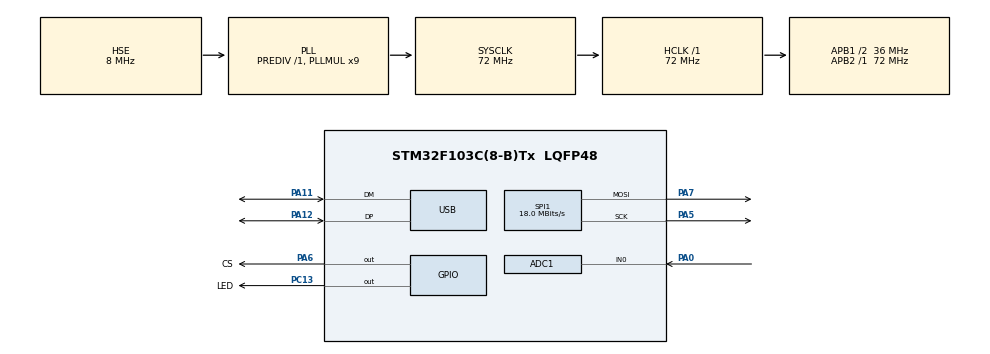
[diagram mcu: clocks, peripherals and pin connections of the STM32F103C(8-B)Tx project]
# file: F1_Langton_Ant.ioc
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ADC1.Channel-0\#ChannelRegularConversion=ADC_CHANNEL_0
ADC1.ContinuousConvMode=DISABLE
ADC1.NbrOfConversionFlag=1
ADC1.Rank-0\#ChannelRegularConversion=1
ADC1.SamplingTime-0\#ChannelRegularConversion=ADC_SAMPLETIME_1CYCLE_5
ADC1.master=1
Dma.Request0=SPI1_TX
Dma.SPI1_TX.0.Direction=DMA_MEMORY_TO_PERIPH
Dma.SPI1_TX.0.Instance=DMA1_Channel3
Dma.SPI1_TX.0.MemDataAlignment=DMA_MDATAALIGN_HALFWORD
Dma.SPI1_TX.0.MemInc=DMA_MINC_DISABLE
Dma.SPI1_TX.0.Mode=DMA_NORMAL
Dma.SPI1_TX.0.PeriphDataAlignment=DMA_PDATAALIGN_HALFWORD
Dma.SPI1_TX.0.PeriphInc=DMA_PINC_DISABLE
Dma.SPI1_TX.0.Priority=DMA_PRIORITY_LOW
Mcu.Family=STM32F1
Mcu.Name=STM32F103C(8-B)Tx
Mcu.Package=LQFP48
NVIC.DMA1_Channel3_IRQn=true\:0\:0\:false\:false\:true\:false\:true
NVIC.PriorityGroup=NVIC_PRIORITYGROUP_4
NVIC.TIM1_BRK_IRQn=true\:0\:0\:false\:false\:true\:true\:true
NVIC.TIM1_CC_IRQn=true\:0\:0\:false\:false\:true\:true\:true
NVIC.TIM1_TRG_COM_IRQn=true\:0\:0\:false\:false\:true\:true\:true
NVIC.TIM1_UP_IRQn=true\:0\:0\:false\:false\:true\:true\:true
NVIC.USB_LP_CAN1_RX0_IRQn=true\:0\:0\:false\:false\:true\:false\:true
PA0-WKUP.Signal=ADCx_IN0
PA11.Mode=Device
PA11.Signal=USB_DM
PA12.Mode=Device
PA12.Signal=USB_DP
PA13.Mode=Serial_Wire
PA13.Signal=SYS_JTMS-SWDIO
PA14.Mode=Serial_Wire
PA14.Signal=SYS_JTCK-SWCLK
PA5.GPIO_Mode=GPIO_MODE_AF_PP
PA5.GPIO_Speed=GPIO_SPEED_FREQ_HIGH
PA5.Mode=TX_Only_Simplex_Unidirect_Master
PA5.Signal=SPI1_SCK
PA6.GPIO_Label=CS
PA6.Signal=GPIO_Output
PA7.GPIO_Mode=GPIO_MODE_AF_PP
PA7.GPIO_Speed=GPIO_SPEED_FREQ_HIGH
PA7.Mode=TX_Only_Simplex_Unidirect_Master
PA7.Signal=SPI1_MOSI
PC13-TAMPER-RTC.GPIO_Label=LED
PC13-TAMPER-RTC.Signal=GPIO_Output
PC14-OSC32_IN.Mode=LSE-External-Oscillator
PC14-OSC32_IN.Signal=RCC_OSC32_IN
PC15-OSC32_OUT.Mode=LSE-External-Oscillator
PC15-OSC32_OUT.Signal=RCC_OSC32_OUT
PD0-OSC_IN.Mode=HSE-External-Oscillator
PD0-OSC_IN.Signal=RCC_OSC_IN
PD1-OSC_OUT.Mode=HSE-External-Oscillator
PD1-OSC_OUT.Signal=RCC_OSC_OUT
ProjectManager.HeapSize=0x200
ProjectManager.StackSize=0x400
ProjectManager.TargetToolchain=SW4STM32
RCC.ADCPresc=RCC_ADCPCLK2_DIV6
RCC.AHBFreq_Value=72000000
RCC.APB1CLKDivider=RCC_HCLK_DIV2
RCC.APB1Freq_Value=36000000
RCC.APB1TimFreq_Value=72000000
RCC.APB2Freq_Value=72000000
RCC.APB2TimFreq_Value=72000000
RCC.HCLKFreq_Value=72000000
RCC.PLLMUL=RCC_PLL_MUL9
RCC.PLLSourceVirtual=RCC_PLLSOURCE_HSE
RCC.SYSCLKFreq_VALUE=72000000
RCC.SYSCLKSource=RCC_SYSCLKSOURCE_PLLCLK
RCC.USBFreq_Value=48000000
RCC.USBPrescaler=RCC_USBCLKSOURCE_PLL_DIV1_5
SH.ADCx_IN0.0=ADC1_IN0,IN0
SPI1.BaudRatePrescaler=SPI_BAUDRATEPRESCALER_4
SPI1.CalculateBaudRate=18.0 MBits/s
SPI1.DataSize=SPI_DATASIZE_8BIT
SPI1.Direction=SPI_DIRECTION_2LINES
SPI1.Mode=SPI_MODE_MASTER
SPI1.VirtualType=VM_MASTER
TIM1.AutoReloadPreload=TIM_AUTORELOAD_PRELOAD_DISABLE
TIM1.ClockDivision=TIM_CLOCKDIVISION_DIV4
TIM1.Period=35999
TIM1.Prescaler=35999
USB_DEVICE.CLASS_NAME_FS=CDC
USB_DEVICE.LANGID_STRING=1036
USB_DEVICE.VirtualMode=Cdc
USB_DEVICE.VirtualModeFS=Cdc_FS
VP_TIM1_VS_ClockSourceINT.Mode=Internal
VP_USB_DEVICE_VS_USB_DEVICE_CDC_FS.Mode=CDC_FS
board=custom

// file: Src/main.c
/* USER CODE BEGIN Header */
/**
 ******************************************************************************
 * @file           : main.c
 * @brief          : Main program body
 ******************************************************************************
 * @attention
 *
 * <h2><center>&copy; Copyright (c) 2019 STMicroelectronics.
 * All rights reserved.</center></h2>
 *
 * This software component is licensed by ST under Ultimate Liberty license
 * SLA0044, the "License"; You may not use this file except in compliance with
 * the License. You may obtain a copy of the License at:
 *                             www.st.com/SLA0044
 *
 ******************************************************************************
 */
/* USER CODE END Header */

#include "main.h"
#include "usb_device.h"

ADC_HandleTypeDef hadc1;

SPI_HandleTypeDef hspi1;
DMA_HandleTypeDef hdma_spi1_tx;

TIM_HandleTypeDef htim1;

/* USER CODE BEGIN PV */
struct St_Ant ant1;
char buff[11];
/* USER CODE END PV */

void SystemClock_Config(void);
static void MX_GPIO_Init(void);
static void MX_DMA_Init(void);
static void MX_SPI1_Init(void);
static void MX_TIM1_Init(void);
static void MX_ADC1_Init(void);

/* USER CODE BEGIN 0 */

void to_bin(uint8_t nb, char* str, uint8_t byte) {
	static uint8_t b;

	b = 0;
	while (b < byte) {
		str[b] = (((nb >> b) & 1) + '0');
		b++;
	}
	str[b] = ' ';
	b++;
	str[b] = ' ';
	b++;
	str[b] = '\n';
}

void HAL_TIM_PeriodElapsedCallback(TIM_HandleTypeDef *htim) {
	if (htim->Instance == TIM1) {
		HAL_GPIO_TogglePin(LED_GPIO_Port, LED_Pin);
		ant1.x = 0;
	}
}

void MAXIM(SPI_HandleTypeDef *hspi, uint8_t addr, uint8_t comm) {
	static uint8_t data[2];
	data[0] = addr;
	data[1] = comm;
	HAL_GPIO_WritePin(CS_GPIO_Port, CS_Pin, 0);
	HAL_SPI_Transmit(hspi, &data[0], 2, HAL_MAX_DELAY);
	HAL_GPIO_WritePin(CS_GPIO_Port, CS_Pin, 1);
}

void MAXIM_Init(SPI_HandleTypeDef *hspi) {
	uint8_t i;
	i = 0;
	MAXIM(hspi, 0xA, 0x0); // LED INTENSITY
	while (i < 8) {
		MAXIM(hspi, 0xA, 0x0);
		MAXIM(hspi, i + 1, 0x0);
		i++;
	}
	MAXIM(hspi, 0xC, 0x1);
	MAXIM(hspi, 0xB, 0x7);
	MAXIM(hspi, 0xA, 0x0); // LED INTENSITY
	MAXIM(hspi, 0xF, 0x1);
	MAXIM(hspi, 0xF, 0x0);
	MAXIM(hspi, 0x9, 0x0);
	i = 0;
}

void Maxim_Map(SPI_HandleTypeDef *hspi, uint8_t *map) {
	static uint8_t i;
	i = 0;
	while (i < 8) {
		MAXIM(hspi, i + 1, map[i]);
		i++;
	}
}

void init_map(struct St_Ant* ant, uint8_t init) {
	ant->y = 0;
	switch (init) {
	case 0:			// Create a blank map
		while ((ant->y) < 8) {
			ant->map[ant->y] = 0;
			ant->y++;
		}
		break;
	case 1:			//Create zebra map
		while ((ant->y) < 8) {
			ant->map[ant->y] = 0b10101010;
			ant->y++;
		}
		break;
	case 5:			// create a randomness map
		while ((ant->y) < 8) {
			HAL_ADC_Start(&hadc1);
			while (HAL_ADC_PollForConversion(&hadc1, HAL_MAX_DELAY)) {
				;
			}
			srand(HAL_ADC_GetValue(&hadc1));
			ant->map[ant->y] = rand() & 0b11111111;
			ant->y++;
		}
		break;
	case 2:			// Le crapeau
		ant->map[0] = 0b00000000;
		ant->map[1] = 0b00000000;
		ant->map[2] = 0b00000000;
		ant->map[3] = 0b01110000;
		ant->map[4] = 0b00111000;
		ant->map[5] = 0b00000000;
		ant->map[6] = 0b00000000;
		ant->map[7] = 0b00000000;
		break;
	case 3:			// Le planneur
		ant->map[4] = 0b01000000;
		ant->map[5] = 0b00100000;
		ant->map[6] = 0b11100000;
		ant->map[7] = 0b00000000;
		ant->map[0] = 0b00000000;
		ant->map[1] = 0b00000000;
		ant->map[2] = 0b00000000;
		ant->map[3] = 0b00000000;
		break;
	case 4:			// 2 Clignotants
		ant->map[0] = 0b01000000;
		ant->map[1] = 0b01000000;
		ant->map[2] = 0b01000000;
		ant->map[3] = 0b00000000;
		ant->map[4] = 0b00000000;
		ant->map[5] = 0b00001110;
		ant->map[6] = 0b00000000;
		ant->map[7] = 0b00000000;
		break;

	case 6:			// La balise
		ant->map[0] = 0b00000000;
		ant->map[1] = 0b00000000;
		ant->map[2] = 0b00000000;
		ant->map[3] = 0b00001100;
		ant->map[4] = 0b00001100;
		ant->map[5] = 0b00110000;
		ant->map[6] = 0b00110000;
		ant->map[7] = 0b00000000;
		break;
	case 7:			// Vaisseau
		ant->map[0] = 0b00000000;
		ant->map[1] = 0b00000000;
		ant->map[2] = 0b00111100;
		ant->map[3] = 0b01000100;
		ant->map[4] = 0b00000100;
		ant->map[5] = 0b01001000;
		ant->map[6] = 0b00000000;
		ant->map[7] = 0b00000000;
		break;
	default:
		break;
	}
	__HAL_TIM_SET_COUNTER(&htim1, 0);
	MAXIM_Init(&hspi1);
}

void Ant(struct St_Ant* ant) {
	if ((ant->map[ant->y] >> (ant->x)) & 1) {
		ant->dir += 1;
		ant->map[ant->y] = ant->map[ant->y] - (1 << ant->x);
	} else {
		ant->dir -= 1;
		ant->map[ant->y] = ant->map[ant->y] + (1 << ant->x);
	}

	ant->dir = ant->dir % 4;

	switch (ant->dir) {
	case 0:
		ant->y += 1;
		break;
	case 1:
		ant->x -= 1;
		break;
	case 2:
		ant->y -= 1;
		break;
	case 3:
		ant->x += 1;
		break;
	default:
		break;
	}
	ant->x = ant->x % 8;
	ant->y = ant->y % 8;
	Maxim_Map(&hspi1, ant->map);
}

int8_t mod(int8_t x) {
	static int ret;
	ret = x % 8;

	return ret;
}

int8_t cell_near(uint8_t *mapi, uint8_t ay, uint8_t ax) {
	static int8_t dy, cx, dx, cy;
	static int8_t nearby;

	nearby = 0;

	dy = 7;
	while (dy <= 9) {
		dx = 7;
		while (dx <= 9) {
			cy = mod(ay + dy);
			cx = mod(ax + dx);
			if (((mapi[cy] >> cx) & 1)) {
				if (dy == 8 && dx == 8) {
					;
				} else {
					nearby++;
				}
			}
			dx++;
		}
		dy++;
	}

	return nearby;
}

void life_game(struct St_Ant* ant) {
	uint8_t tmp_map[8];
	uint8_t x;
	uint8_t nearby;

	ant->y = 0;

	while (ant->y < 8) {
		x = 0;
		tmp_map[ant->y] = ant->map[ant->y];
		while (x < 8) {
			if ((tmp_map[ant->y] >> x) & 1) {
			} else {
			}
			x++;
		}
		ant->y++;
	}

	ant->y = 0;
	x = 0;

	while (ant->y < 8) {
		x = 0;
		while (x < 8) {
			nearby = cell_near(&tmp_map[0], ant->y, x);
			if (nearby == 3) {
				ant->map[ant->y] |= (1 << x);
				if (tmp_map[ant->y] && (1 << x)) {
					;
				} else {
					ant->x = 10;
				}
			}
			if ((nearby > 3) || (nearby < 2)) {
				ant->map[ant->y] &= ~(1 << x);
			}
			x++;
		}
		ant->y++;
	}
	ant->x--;
	if (!ant->x) {
		init_map(ant, 5);
		ant->x = 10;
	}
	Maxim_Map(&hspi1, ant->map);
}

/* USER CODE END 0 */

int main(void) {

	/* MCU Configuration--------------------------------------------------------*/

	/* Reset of all peripherals, Initializes the Flash interface and the Systick. */
	HAL_Init();

	/* Configure the system clock */
	SystemClock_Config();

	/* Initialize all configured peripherals */
	MX_GPIO_Init();
	MX_DMA_Init();
	MX_SPI1_Init();
	MX_TIM1_Init();
	MX_ADC1_Init();
	MX_USB_DEVICE_Init();
	/* USER CODE BEGIN 2 */
	uint8_t i;
	uint8_t map;
	/* USER CODE END 2 */

	/* Infinite loop */
	/* USER CODE BEGIN WHILE */
	init_map(&ant1, 7);
	HAL_TIM_Base_Start_IT(&htim1);
	ant1.x = 7;
	ant1.y = 7;
	ant1.dir = 0;
	HAL_GPIO_WritePin(CS_GPIO_Port, CS_Pin, 1);
	MAXIM_Init(&hspi1);
	Maxim_Map(&hspi1, ant1.map);
	HAL_Delay(1000);

	while (1) {
		if (!ant1.x) {
			i = 0;
			while (i < 8) {
				map = ant1.map[i];
				to_bin(map, buff, 8);
				CDC_Transmit_FS(buff, 11);
				HAL_Delay(1);
				i++;
			}
			init_map(&ant1.map, 5);
			__HAL_TIM_SET_COUNTER(&htim1, 0);
			//__HAL_TIM_GET_COUNTER(&htim1);
			CDC_Transmit_FS("\r\n", 2);
		}
		//Ant(&ant1);
		life_game(&ant1);
		HAL_Delay(100);

		// dir 0 = N;  1 = E;  2 = S; 3 = O;
		/* USER CODE END WHILE */

	}
}

void SystemClock_Config(void) {
	RCC_OscInitTypeDef RCC_OscInitStruct = { 0 };
	RCC_ClkInitTypeDef RCC_ClkInitStruct = { 0 };
	RCC_PeriphCLKInitTypeDef PeriphClkInit = { 0 };

	/** Initializes the CPU, AHB and APB busses clocks
	 */
	RCC_OscInitStruct.OscillatorType = RCC_OSCILLATORTYPE_HSE;
	RCC_OscInitStruct.HSEState = RCC_HSE_ON;
	RCC_OscInitStruct.HSEPredivValue = RCC_HSE_PREDIV_DIV1;
	RCC_OscInitStruct.HSIState = RCC_HSI_ON;
	RCC_OscInitStruct.PLL.PLLState = RCC_PLL_ON;
	RCC_OscInitStruct.PLL.PLLSource = RCC_PLLSOURCE_HSE;
	RCC_OscInitStruct.PLL.PLLMUL = RCC_PLL_MUL9;
	if (HAL_RCC_OscConfig(&RCC_OscInitStruct) != HAL_OK) {
		Error_Handler();
	}
	/** Initializes the CPU, AHB and APB busses clocks
	 */
	RCC_ClkInitStruct.ClockType = RCC_CLOCKTYPE_HCLK | RCC_CLOCKTYPE_SYSCLK
			| RCC_CLOCKTYPE_PCLK1 | RCC_CLOCKTYPE_PCLK2;
	RCC_ClkInitStruct.SYSCLKSource = RCC_SYSCLKSOURCE_PLLCLK;
	RCC_ClkInitStruct.AHBCLKDivider = RCC_SYSCLK_DIV1;
	RCC_ClkInitStruct.APB1CLKDivider = RCC_HCLK_DIV2;
	RCC_ClkInitStruct.APB2CLKDivider = RCC_HCLK_DIV1;

	if (HAL_RCC_ClockConfig(&RCC_ClkInitStruct, FLASH_LATENCY_2) != HAL_OK) {
		Error_Handler();
	}
	PeriphClkInit.PeriphClockSelection = RCC_PERIPHCLK_ADC | RCC_PERIPHCLK_USB;
	PeriphClkInit.AdcClockSelection = RCC_ADCPCLK2_DIV6;
	PeriphClkInit.UsbClockSelection = RCC_USBCLKSOURCE_PLL_DIV1_5;
	if (HAL_RCCEx_PeriphCLKConfig(&PeriphClkInit) != HAL_OK) {
		Error_Handler();
	}
}

static void MX_ADC1_Init(void) {

	ADC_ChannelConfTypeDef sConfig = { 0 };

	/** Common config
	 */
	hadc1.Instance = ADC1;
	hadc1.Init.ScanConvMode = ADC_SCAN_DISABLE;
	hadc1.Init.ContinuousConvMode = DISABLE;
	hadc1.Init.DiscontinuousConvMode = DISABLE;
	hadc1.Init.ExternalTrigConv = ADC_SOFTWARE_START;
	hadc1.Init.DataAlign = ADC_DATAALIGN_RIGHT;
	hadc1.Init.NbrOfConversion = 1;
	if (HAL_ADC_Init(&hadc1) != HAL_OK) {
		Error_Handler();
	}
	/** Configure Regular Channel
	 */
	sConfig.Channel = ADC_CHANNEL_0;
	sConfig.Rank = ADC_REGULAR_RANK_1;
	sConfig.SamplingTime = ADC_SAMPLETIME_1CYCLE_5;
	if (HAL_ADC_ConfigChannel(&hadc1, &sConfig) != HAL_OK) {
		Error_Handler();
	}

}

static void MX_SPI1_Init(void) {

	/* SPI1 parameter configuration*/
	hspi1.Instance = SPI1;
	hspi1.Init.Mode = SPI_MODE_MASTER;
	hspi1.Init.Direction = SPI_DIRECTION_2LINES;
	hspi1.Init.DataSize = SPI_DATASIZE_8BIT;
	hspi1.Init.CLKPolarity = SPI_POLARITY_LOW;
	hspi1.Init.CLKPhase = SPI_PHASE_1EDGE;
	hspi1.Init.NSS = SPI_NSS_SOFT;
	hspi1.Init.BaudRatePrescaler = SPI_BAUDRATEPRESCALER_4;
	hspi1.Init.FirstBit = SPI_FIRSTBIT_MSB;
	hspi1.Init.TIMode = SPI_TIMODE_DISABLE;
	hspi1.Init.CRCCalculation = SPI_CRCCALCULATION_DISABLE;
	hspi1.Init.CRCPolynomial = 10;
	if (HAL_SPI_Init(&hspi1) != HAL_OK) {
		Error_Handler();
	}

}

static void MX_TIM1_Init(void) {

	TIM_ClockConfigTypeDef sClockSourceConfig = { 0 };
	TIM_MasterConfigTypeDef sMasterConfig = { 0 };

	htim1.Instance = TIM1;
	htim1.Init.Prescaler = 35999;
	htim1.Init.CounterMode = TIM_COUNTERMODE_UP;
	htim1.Init.Period = 35999;
	htim1.Init.ClockDivision = TIM_CLOCKDIVISION_DIV4;
	htim1.Init.RepetitionCounter = 0;
	htim1.Init.AutoReloadPreload = TIM_AUTORELOAD_PRELOAD_DISABLE;
	if (HAL_TIM_Base_Init(&htim1) != HAL_OK) {
		Error_Handler();
	}
	sClockSourceConfig.ClockSource = TIM_CLOCKSOURCE_INTERNAL;
	if (HAL_TIM_ConfigClockSource(&htim1, &sClockSourceConfig) != HAL_OK) {
		Error_Handler();
	}
	sMasterConfig.MasterOutputTrigger = TIM_TRGO_RESET;
	sMasterConfig.MasterSlaveMode = TIM_MASTERSLAVEMODE_DISABLE;
	if (HAL_TIMEx_MasterConfigSynchronization(&htim1, &sMasterConfig)
			!= HAL_OK) {
		Error_Handler();
	}

}

static void MX_DMA_Init(void) {

	/* DMA controller clock enable */
	__HAL_RCC_DMA1_CLK_ENABLE()
	;

	/* DMA interrupt init */
	/* DMA1_Channel3_IRQn interrupt configuration */
	HAL_NVIC_SetPriority(DMA1_Channel3_IRQn, 0, 0);
	HAL_NVIC_EnableIRQ(DMA1_Channel3_IRQn);

}

static void MX_GPIO_Init(void) {
	GPIO_InitTypeDef GPIO_InitStruct = { 0 };

	/* GPIO Ports Clock Enable */
	__HAL_RCC_GPIOC_CLK_ENABLE()
	;
	__HAL_RCC_GPIOD_CLK_ENABLE()
	;
	__HAL_RCC_GPIOA_CLK_ENABLE()
	;

	/*Configure GPIO pin Output Level */
	HAL_GPIO_WritePin(LED_GPIO_Port, LED_Pin, GPIO_PIN_RESET);

	/*Configure GPIO pin Output Level */
	HAL_GPIO_WritePin(CS_GPIO_Port, CS_Pin, GPIO_PIN_RESET);

	/*Configure GPIO pin : LED_Pin */
	GPIO_InitStruct.Pin = LED_Pin;
	GPIO_InitStruct.Mode = GPIO_MODE_OUTPUT_PP;
	GPIO_InitStruct.Pull = GPIO_NOPULL;
	GPIO_InitStruct.Speed = GPIO_SPEED_FREQ_LOW;
	HAL_GPIO_Init(LED_GPIO_Port, &GPIO_InitStruct);

	/*Configure GPIO pin : CS_Pin */
	GPIO_InitStruct.Pin = CS_Pin;
	GPIO_InitStruct.Mode = GPIO_MODE_OUTPUT_PP;
	GPIO_InitStruct.Pull = GPIO_NOPULL;
	GPIO_InitStruct.Speed = GPIO_SPEED_FREQ_LOW;
	HAL_GPIO_Init(CS_GPIO_Port, &GPIO_InitStruct);

}

void Error_Handler(void) {
}

/************************ (C) COPYRIGHT STMicroelectronics *****END OF FILE****/
